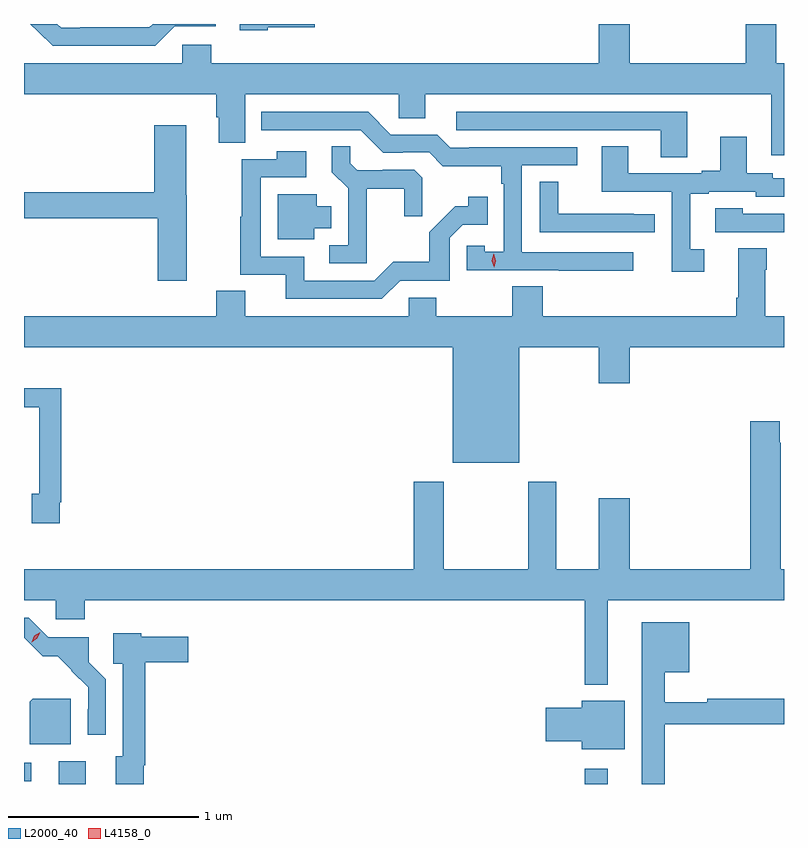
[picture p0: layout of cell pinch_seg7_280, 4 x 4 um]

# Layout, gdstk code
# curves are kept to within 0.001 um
import gdstk
lib = gdstk.Library(unit=1e-6, precision=1e-09)
def R(c, l, rs):  # rectangles x0, y0, x1, y1
    for r in rs: c.add(gdstk.rectangle(r[:2], r[2:], *l))
def P(c, l, *ps):  # polygons
    for p in ps: c.add(gdstk.Polygon(p, *l))
L2000_40 = (2000, 40)
L4158_0 = (4158, 0)

pinch_seg7_280 = lib.new_cell('pinch_seg7_280')
R(pinch_seg7_280, L2000_40, [(569.759,1075.574,569.899,1075.693), (572.526,1075.574,572.647,1075.654), (569.575,1075.589,569.614,1075.686)])
P(pinch_seg7_280, L2000_40, [(573.575,1079.368),(573.534,1079.368),(573.534,1079.574),(573.374,1079.574),(573.374,1079.368),(572.764,1079.368),(572.764,1079.574),(572.6,1079.574),(572.6,1079.368),(570.56,1079.368),(570.56,1079.466),(570.408,1079.466),(570.408,1079.368),(569.575,1079.368),(569.575,1079.204),(570.587,1079.204),(570.587,1079.082),(570.599,1079.082),(570.599,1078.948),(570.739,1078.948),(570.739,1079.204),(571.548,1079.204),(571.548,1079.077),(571.687,1079.077),(571.687,1079.204),(573.509,1079.204),(573.509,1078.884),(573.575,1078.884)],
  [(570.369,1079.562),(570.583,1079.562),(570.583,1079.574),(570.252,1079.574),(570.234,1079.556),(569.872,1079.556),(569.872,1079.553),(569.772,1079.553),(569.751,1079.574),(569.609,1079.574),(569.726,1079.46),(570.267,1079.46)],
  [(570.858,1079.558),(571.105,1079.558),(571.105,1079.574),(570.71,1079.574),(570.71,1079.54),(570.858,1079.54)],
  [(572.782,1078.374),(572.196,1078.374),(572.196,1078.83),(572.488,1078.83),(572.488,1078.926),(571.918,1078.926),(571.918,1078.923),(571.818,1078.923),(571.749,1078.992),(571.506,1078.992),(571.386,1079.112),(570.824,1079.112),(570.824,1079.016),(571.347,1079.016),(571.467,1078.896),(571.568,1078.896),(571.568,1078.899),(571.707,1078.899),(571.78,1078.826),(572.088,1078.826),(572.088,1078.733),(572.1,1078.733),(572.1,1078.375),(572.001,1078.375),(572.001,1078.407),(571.905,1078.407),(571.905,1078.278),(572.389,1078.278),(572.389,1078.276),(572.782,1078.276)],
  [(573.067,1079.112),(571.851,1079.112),(571.851,1079.016),(572.927,1079.016),(572.927,1078.873),(573.067,1078.873)],
  [(570.432,1078.674),(570.43,1078.674),(570.43,1079.041),(570.26,1079.041),(570.26,1078.688),(569.575,1078.688),(569.575,1078.552),(570.278,1078.552),(570.278,1078.224),(570.432,1078.224)],
  [(573.154,1078.389),(573.082,1078.389),(573.082,1078.68),(573.178,1078.68),(573.178,1078.692),(573.426,1078.692),(573.426,1078.665),(573.575,1078.665),(573.575,1078.761),(573.516,1078.761),(573.516,1078.788),(573.379,1078.788),(573.379,1078.981),(573.239,1078.981),(573.239,1078.801),(573.143,1078.801),(573.143,1078.788),(572.755,1078.788),(572.755,1078.931),(572.615,1078.931),(572.615,1078.692),(572.985,1078.692),(572.985,1078.269),(573.154,1078.269)],
  [(571.379,1078.706),(571.576,1078.706),(571.576,1078.563),(571.67,1078.563),(571.67,1078.765),(571.629,1078.806),(571.464,1078.806),(571.464,1078.803),(571.33,1078.803),(571.293,1078.84),(571.293,1078.931),(571.195,1078.931),(571.195,1078.795),(571.281,1078.709),(571.281,1078.41),(571.182,1078.41),(571.182,1078.314),(571.379,1078.314)],
  [(571.554,1078.224),(571.815,1078.224),(571.815,1078.449),(571.884,1078.518),(572.015,1078.518),(572.015,1078.666),(571.914,1078.666),(571.914,1078.616),(571.844,1078.616),(571.707,1078.478),(571.707,1078.323),(571.518,1078.323),(571.419,1078.224),(571.051,1078.224),(571.051,1078.35),(570.822,1078.35),(570.822,1078.767),(571.06,1078.767),(571.06,1078.903),(570.904,1078.903),(570.904,1078.863),(570.721,1078.863),(570.721,1078.559),(570.714,1078.559),(570.714,1078.254),(570.953,1078.254),(570.953,1078.128),(571.458,1078.128)],
  [(572.896,1078.574),(572.783,1078.574),(572.783,1078.575),(572.388,1078.575),(572.388,1078.745),(572.289,1078.745),(572.289,1078.479),(572.896,1078.479)],
  [(571.102,1078.499),(571.192,1078.499),(571.192,1078.615),(571.117,1078.615),(571.117,1078.678),(570.911,1078.678),(570.911,1078.442),(571.102,1078.442)],
  [(573.575,1078.575),(573.357,1078.575),(573.357,1078.603),(573.213,1078.603),(573.213,1078.479),(573.571,1078.479),(573.571,1078.477),(573.575,1078.477)],
  [(572.182,1077.872),(572.6,1077.872),(572.6,1077.684),(572.764,1077.684),(572.764,1077.872),(573.575,1077.872),(573.575,1078.036),(573.475,1078.036),(573.475,1078.28),(573.483,1078.28),(573.483,1078.393),(573.335,1078.393),(573.335,1078.132),(573.323,1078.132),(573.323,1078.036),(572.306,1078.036),(572.306,1078.193),(572.146,1078.193),(572.146,1078.036),(571.746,1078.036),(571.746,1078.134),(571.599,1078.134),(571.599,1078.036),(570.739,1078.036),(570.739,1078.169),(570.587,1078.169),(570.587,1078.036),(569.575,1078.036),(569.575,1077.872),(571.832,1077.872),(571.832,1077.266),(572.182,1077.266)],
  [(569.764,1077.058),(569.771,1077.058),(569.771,1077.656),(569.575,1077.656),(569.575,1077.558),(569.655,1077.558),(569.655,1077.102),(569.615,1077.102),(569.615,1076.946),(569.764,1076.946)],
  [(572.647,1076.54),(573.575,1076.54),(573.575,1076.704),(573.558,1076.704),(573.558,1077.371),(573.553,1077.371),(573.553,1077.484),(573.398,1077.484),(573.398,1076.704),(572.764,1076.704),(572.764,1077.079),(572.6,1077.079),(572.6,1076.704),(572.377,1076.704),(572.377,1077.166),(572.23,1077.166),(572.23,1076.704),(571.785,1076.704),(571.785,1077.166),(571.625,1077.166),(571.625,1076.704),(569.575,1076.704),(569.575,1076.54),(569.742,1076.54),(569.742,1076.442),(569.894,1076.442),(569.894,1076.54),(572.526,1076.54),(572.526,1076.096),(572.647,1076.096)],
  [(570.006,1076.125),(569.917,1076.214),(569.917,1076.346),(569.703,1076.346),(569.601,1076.448),(569.575,1076.448),(569.575,1076.345),(569.674,1076.246),(569.753,1076.246),(569.826,1076.173),(569.824,1076.171),(569.913,1076.082),(569.913,1075.967),(569.91,1075.967),(569.91,1075.833),(570.006,1075.833)],
  [(572.947,1075.888),(573.575,1075.888),(573.575,1076.024),(573.172,1076.024),(573.172,1076.005),(572.947,1076.005),(572.947,1076.162),(573.076,1076.162),(573.076,1076.425),(572.825,1076.425),(572.825,1075.574),(572.947,1075.574)],
  [(570.205,1075.672),(570.212,1075.672),(570.212,1076.061),(570.214,1076.061),(570.214,1076.216),(570.439,1076.216),(570.439,1076.35),(570.192,1076.35),(570.192,1076.368),(570.044,1076.368),(570.044,1076.208),(570.096,1076.208),(570.096,1075.721),(570.059,1075.721),(570.059,1075.574),(570.205,1075.574)],
  [(569.821,1076.023),(569.622,1076.023),(569.606,1076.007),(569.606,1075.784),(569.821,1075.784)],
  [(572.737,1076.011),(572.51,1076.011),(572.51,1075.976),(572.322,1075.976),(572.322,1075.798),(572.51,1075.798),(572.51,1075.757),(572.737,1075.757)])
P(pinch_seg7_280, L4158_0, [(572.049,1078.293),(572.049,1078.294),(572.038,1078.329),(572.047,1078.365),(572.047,1078.365),(572.048,1078.365),(572.058,1078.329),(572.049,1078.294)],
  [(569.615,1076.321),(569.615,1076.321),(569.63,1076.354),(569.66,1076.373),(569.66,1076.373),(569.66,1076.373),(569.645,1076.34),(569.615,1076.321)])

lib.write_gds('pinch_seg7_280.gds')
